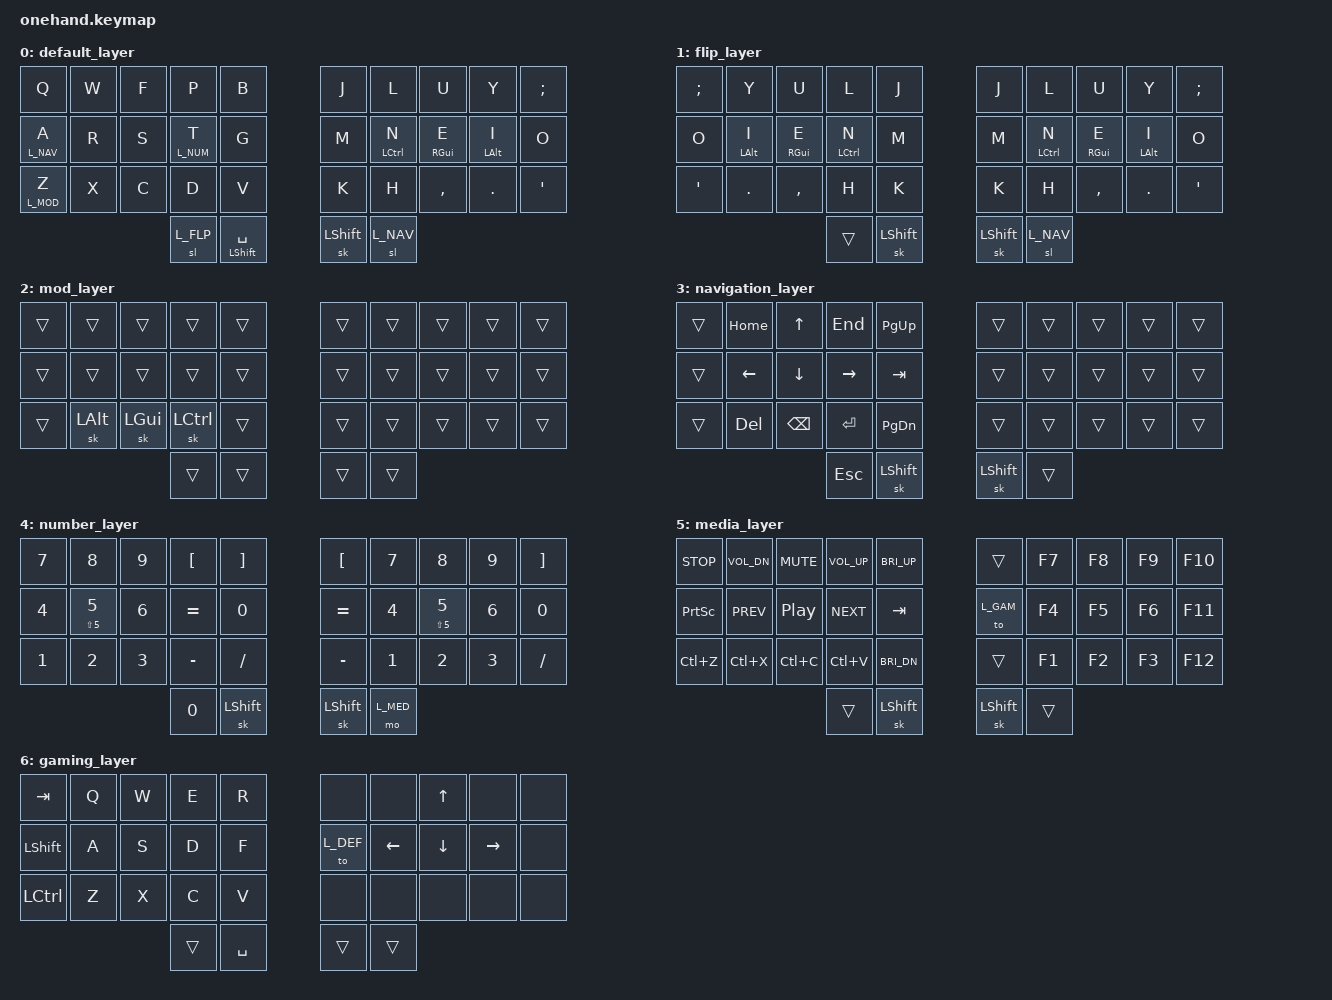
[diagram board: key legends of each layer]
/*
 * Copyright (c) 2020 The ZMK Contributors
 *
 * SPDX-License-Identifier: MIT
 */

#include <behaviors.dtsi>
#include <dt-bindings/zmk/bt.h>
#include <dt-bindings/zmk/keys.h>

// GENERAL KEYS
#define GEN_NONE &none
#define GEN_TRAN &trans
#define GEN_BSPC &kp BSPC

// DEFAULT LAYER

#define L_DEF 0

#define DEF_Q &kp Q
#define DEF_W &kp W
#define DEF_F &kp F
#define DEF_P &kp P
#define DEF_B &kp B
                        
#define DEF_A &lt L_NAV A
#define DEF_R &kp R 
#define DEF_S &kp S
#define DEF_T &lt L_NUM T 
#define DEF_G &kp G
        
#define DEF_Z &lt L_MOD Z
#define DEF_X &kp X
#define DEF_C &kp C
#define DEF_D &kp D
#define DEF_V &kp V
                        

#define DEF_J &kp J
#define DEF_L &kp L
#define DEF_U &kp U
#define DEF_Y &kp Y
#define DEF_SEMI &kp SEMI

#define DEF_K &kp K
#define DEF_H &kp H
#define DEF_COMA &kp COMMA
#define DEF_DOT &kp DOT
#define DEF_QUOT &kp SQT

#define DEF_M &kp M
#define DEF_N &mt LCTRL N
#define DEF_E &mt RGUI E
#define DEF_I &mt LALT I 
#define DEF_O &kp O

#define DEF_SPC  &mt LSHIFT SPC
#define DEF_FLP  &sl L_FLP
#define DEF_NAV  &sl L_NAV
#define DEF_NUM  &sl L_NUM
#define DEF_MED  &mo L_MED
#define DEF_SHFT &sk LSHIFT
#define DEF_ALT  &sk LALT
#define DEF_GUI  &sk LGUI
#define DEF_CTRL &sk LCTRL
#define DEF_TAP  &td0


#define L_FLP 1

#define L_MOD 2

// NAVIGATION LAYER
#define L_NAV 3

#define NAV_BSLH &kp BSLH
#define NAV_HOME &kp HOME
#define NAV_UP &kp UP
#define NAV_END &kp END
#define NAV_PGUP &kp PG_UP

#define NAV_ESC &kp ESC
#define NAV_LEFT &kp LEFT
#define NAV_DOWN &kp DOWN
#define NAV_RGHT &kp RIGHT
#define NAV_TAB &kp TAB

#define NAV_GRV &kp GRAVE
#define NAV_DEL &kp DEL
#define NAV_BSPC &kp BSPC
#define NAV_RET &kp RET
#define NAV_PGDN &kp PG_DN


// NUM LAYER
#define L_NUM 4

#define NUM_LBKT &kp LBKT
#define NUM_N7 &kp N7 
#define NUM_N8 &kp N8
#define NUM_N9 &kp N9
#define NUM_RBKT &kp RBKT 

#define NUM_EQUL &kp EQUAL
#define NUM_N4 &kp N4
#define NUM_N5 &mt LS(N5) N5
#define NUM_N6 &kp N6
#define NUM_N0 &kp N0

#define NUM_MIN &kp MINUS
#define NUM_N1 &kp N1
#define NUM_N2 &kp N2
#define NUM_N3 &kp N3
#define NUM_FSLH &kp FSLH

// MEDIA LAYER
#define L_MED 5

#define MED_BRID &kp C_BRI_DN
#define MED_VOLU &kp C_VOL_UP
#define MED_BRIU &kp C_BRI_UP


#define MED_PRNT &kp PSCRN
#define MED_PREV &kp C_PREV
#define MED_PLAY &kp C_PP
#define MED_NEXT &kp C_NEXT

#define MED_MUTE &kp C_MUTE
#define MED_VOLD &kp C_VOL_DN
#define MED_STOP &kp C_STOP

#define MED_UNDO &kp LC(Z)
#define MED_CUT  &kp LC(X)
#define MED_COPY &kp LC(C)
#define NUM_PST  &kp LC(V)
#define NUM_STAB &kp LS(TAB)

#define FUN_F7 &kp F7
#define FUN_F8 &kp F8
#define FUN_F9 &kp F9
#define FUN_F10 &kp F10

#define FUN_GAME &to L_GAM
#define FUN_F4 &kp F4
#define FUN_F5 &kp F5
#define FUN_F6 &kp F6
#define FUN_F11 &kp F11

#define FUN_BOOT &bootloader
#define FUN_F1 &kp F1
#define FUN_F2 &kp F2
#define FUN_F3 &kp F3
#define FUN_F13 &kp F12

#define FUN_SPC &kp LC(SPC)

// GAMING LAYER
#define L_GAM 6

#define GAM_TAB &kp TAB
#define GAM_Q &kp Q
#define GAM_W &kp W
#define GAM_E &kp E
#define GAM_R &kp R

#define GAM_LSFT &kp LSHIFT
#define GAM_A &kp A
#define GAM_S &kp S
#define GAM_D &kp D
#define GAM_F &kp F

#define GAM_LCTL &kp LCTRL
#define GAM_Z &kp Z
#define GAM_X &kp X
#define GAM_C &kp C
#define GAM_V &kp V


#define GAM_UP &kp UP

#define GAM_DEF &to L_DEF
#define GAM_LEFT &kp LEFT
#define GAM_DOWN &kp DOWN
#define GAM_RGHT &kp RIGHT

#define GAM_ESC &kp ESC
#define GAM_SPC &kp SPACE


&mt {
  flavor = "tap-preferred";
  tapping_term_ms = <200>;
};

&lt {
  flavor = "tap-preferred";
  tapping_term_ms = <200>;
};
&sl {
    release-after-ms = <1000>;
};
&sk {
    release-after-ms = <1000>;
    quick-release;
};
/ {
  combos {
    compatible = "zmk,combos";
    combo_bootloader {
      timeout-ms = <50>;
      key-positions = <0 20>;
      bindings = <&bootloader>;
    };

    combo_btclr {
      timeout-ms = <50>;
      key-positions = <2 22>;
      bindings = <&bt BT_CLR>;
    };
  };

  keymap {
    compatible = "zmk,keymap";

    default_layer {
      bindings = <
        DEF_Q    DEF_W    DEF_F    DEF_P    DEF_B          DEF_J    DEF_L    DEF_U    DEF_Y    DEF_SEMI
        DEF_A    DEF_R    DEF_S    DEF_T    DEF_G          DEF_M    DEF_N    DEF_E    DEF_I    DEF_O
        DEF_Z    DEF_X    DEF_C    DEF_D    DEF_V          DEF_K    DEF_H    DEF_COMA DEF_DOT  DEF_QUOT
                                   DEF_FLP  DEF_SPC        DEF_SHFT DEF_NAV
      >;
    };

    flip_layer {
      bindings = <
        DEF_SEMI DEF_Y    DEF_U    DEF_L    DEF_J          DEF_J    DEF_L    DEF_U    DEF_Y    DEF_SEMI
        DEF_O    DEF_I    DEF_E    DEF_N    DEF_M          DEF_M    DEF_N    DEF_E    DEF_I    DEF_O
        DEF_QUOT DEF_DOT  DEF_COMA DEF_H    DEF_K          DEF_K    DEF_H    DEF_COMA DEF_DOT  DEF_QUOT
                                   GEN_TRAN DEF_SHFT       DEF_SHFT DEF_NAV
      >;
    };

    mod_layer {
      bindings = <
        GEN_TRAN GEN_TRAN GEN_TRAN GEN_TRAN GEN_TRAN       GEN_TRAN GEN_TRAN GEN_TRAN GEN_TRAN GEN_TRAN
        GEN_TRAN GEN_TRAN GEN_TRAN GEN_TRAN GEN_TRAN       GEN_TRAN GEN_TRAN GEN_TRAN GEN_TRAN GEN_TRAN
        GEN_TRAN DEF_ALT  DEF_GUI  DEF_CTRL GEN_TRAN       GEN_TRAN GEN_TRAN GEN_TRAN GEN_TRAN GEN_TRAN
                                   GEN_TRAN GEN_TRAN       GEN_TRAN GEN_TRAN
      >;
    };

    navigation_layer {
      bindings = <
        GEN_TRAN NAV_HOME NAV_UP   NAV_END  NAV_PGUP       GEN_TRAN GEN_TRAN GEN_TRAN GEN_TRAN GEN_TRAN
        GEN_TRAN NAV_LEFT NAV_DOWN NAV_RGHT NAV_TAB        GEN_TRAN GEN_TRAN GEN_TRAN GEN_TRAN GEN_TRAN
        GEN_TRAN NAV_DEL  NAV_BSPC NAV_RET  NAV_PGDN       GEN_TRAN GEN_TRAN GEN_TRAN GEN_TRAN GEN_TRAN
                                   NAV_ESC  DEF_SHFT       DEF_SHFT GEN_TRAN
      >;
    };

    number_layer {
      bindings = <
        NUM_N7    NUM_N8    NUM_N9 NUM_LBKT NUM_RBKT      NUM_LBKT NUM_N7    NUM_N8    NUM_N9    NUM_RBKT
        NUM_N4    NUM_N5    NUM_N6 NUM_EQUL NUM_N0        NUM_EQUL NUM_N4    NUM_N5    NUM_N6    NUM_N0
        NUM_N1    NUM_N2    NUM_N3 NUM_MIN  NUM_FSLH      NUM_MIN  NUM_N1    NUM_N2    NUM_N3    NUM_FSLH
                                   NUM_N0   DEF_SHFT     DEF_SHFT DEF_MED
      >;
    };

    media_layer {
      bindings = <
        MED_STOP MED_VOLD MED_MUTE MED_VOLU MED_BRIU       GEN_TRAN FUN_F7   FUN_F8   FUN_F9   FUN_F10
        MED_PRNT MED_PREV MED_PLAY MED_NEXT NAV_TAB        FUN_GAME FUN_F4   FUN_F5   FUN_F6   FUN_F11
        MED_UNDO MED_CUT  MED_COPY NUM_PST  MED_BRID       GEN_TRAN FUN_F1   FUN_F2   FUN_F3   FUN_F13
                                   GEN_TRAN DEF_SHFT       DEF_SHFT GEN_TRAN
      >;
    };

    gaming_layer {
      bindings = <
        GAM_TAB  GAM_Q    GAM_W    GAM_E    GAM_R       GEN_NONE GEN_NONE GAM_UP   GEN_NONE GEN_NONE
        GAM_LSFT GAM_A    GAM_S    GAM_D    GAM_F       GAM_DEF  GAM_LEFT GAM_DOWN GAM_RGHT GEN_NONE
        GAM_LCTL GAM_Z    GAM_X    GAM_C    GAM_V       GEN_NONE GEN_NONE GEN_NONE GEN_NONE GEN_NONE
                                   GEN_TRAN GAM_SPC     GEN_TRAN GEN_TRAN
      >;
    };

    // empty_layer {
    //   bindings = <
    //     GEN_TRAN GEN_TRAN GEN_TRAN GEN_TRAN GEN_TRAN       GEN_TRAN GEN_TRAN GEN_TRAN GEN_TRAN GEN_TRAN
    //     GEN_TRAN GEN_TRAN GEN_TRAN GEN_TRAN GEN_TRAN       GEN_TRAN GEN_TRAN GEN_TRAN GEN_TRAN GEN_TRAN
    //     GEN_TRAN GEN_TRAN GEN_TRAN GEN_TRAN GEN_TRAN       GEN_TRAN GEN_TRAN GEN_TRAN GEN_TRAN GEN_TRAN
    //                                GEN_TRAN GEN_TRAN       GEN_TRAN GEN_TRAN
    //   >;
    // };

  };
};
